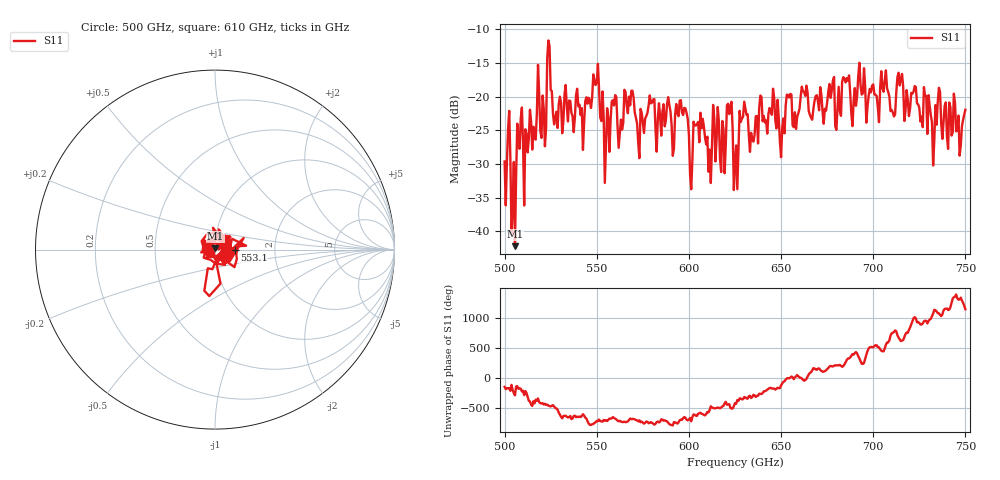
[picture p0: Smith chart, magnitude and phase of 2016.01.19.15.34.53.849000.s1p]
!Created with skrf (http://scikit-rf.org).
# GHz S RI R 50.0
!freq ReS11 ImS11
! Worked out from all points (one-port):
!   401 points, 500 GHz to 750 GHz, reference 50 ohm
!   lowest |S11| = -42.2 dB at 505.6 GHz (marker M1), VSWR 1.02, Z = 50.2 + j0.743 ohm
!   |S11| at or under -10 dB: start of sweep to end of sweep
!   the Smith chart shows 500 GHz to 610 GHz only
!   S11 on the Smith chart (normalised r, x): 500 GHz: 0.95, -0.03; 553.1 GHz: 1.24, -0.01; 610 GHz: 0.91, +0.03
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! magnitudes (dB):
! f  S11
! 500 GHz  -29.6
! 505.6 GHz  -42.2
! 508.1 GHz  -27.7
! 521.2 GHz  -21.8
! 524.4 GHz  -12.5
! 527.5 GHz  -23.0
! 531.2 GHz  -25.4
! 542.5 GHz  -27.9
! 549.4 GHz  -18.3
! 553.1 GHz  -19.2
! 559.4 GHz  -21.3
! 562.5 GHz  -25.4
! 568.8 GHz  -19.1
! 571.9 GHz  -24.0
! 593.8 GHz  -22.5
! 600.6 GHz  -31.6
! 603.8 GHz  -24.3
! 610 GHz  -26.0
! 618.1 GHz  -23.6
! 621.9 GHz  -22.6
! 625 GHz  -29.7
! 628.8 GHz  -23.3
! 633.8 GHz  -25.4
! 656.2 GHz  -24.3
! 687.5 GHz  -19.5
! 714.4 GHz  -18.4
! 718.8 GHz  -20.5
! 750 GHz  -22.0
